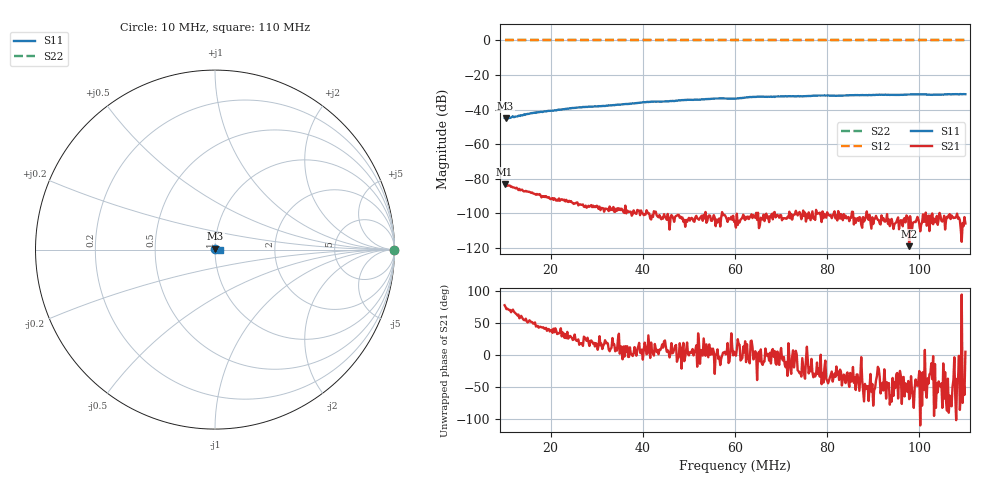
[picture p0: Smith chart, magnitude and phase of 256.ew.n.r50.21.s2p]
! Anritsu VNA Master:  Model: MS2036C/10/77
! SN:  1601066
! /card0/usr/256.ew.n.r50.21.s2p
! Existing Calibration Information:
! TYPE:  Current Settings,  Active Cal Settings
! TIME:  12/19/2017 03:08:02 PM,  12/19/2017 02:53:44 PM
! INTERNAL TEMP:  46.8 C,  46.3 C
! # POINTS:  501,  501
! START FREQ:  10.000 MHz,  10.000 MHz
! STOP FREQ:  110.000 MHz,  110.000 MHz
! SOURCE POWER:  High,  High
! IFBW:  100 Hz,  100 Hz
! AVG FACTOR:  1 ,  1
! REF PLANE 1:  0 mm,  0 mm
! REF PLANE 2:  0 mm,  0 mm
! CAL TYPE:  Full S11,  Full S11
! CAL METHOD:  SOLT,  SOLT
! CAL LINE TYPE:  Coax,  Coax
! DUT PORT 1:  N-Conn(F),  N-Conn(F)
! DUT PORT 2:  K-Conn(F),  K-Conn(F)
! CAL STATUS:  OK: Accuracy High,  --
# GHZ S DB R 50.0
! FREQ.GHZ  S11DB  S11A  S21DB  S21A  S12DB  S12A  S22DB  S22A
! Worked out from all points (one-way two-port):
!   501 points, 10 MHz to 110 MHz, reference 50 ohm
!   highest |S21| = -83.19 dB at 10 MHz (marker M1); lowest = -119.1 dB at 97.8 MHz (marker M2)
!   lowest |S11| = -45.2 dB at 10.2 MHz (marker M3), VSWR 1.01, Z = 50.2 + j0.497 ohm
!   |S11| at or under -10 dB: start of sweep to end of sweep
!   |S22| runs from 0.0 to 0.0 dB; largest |S21 - S12| = 1
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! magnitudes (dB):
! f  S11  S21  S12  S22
! 10 MHz  -44.9  -83.2  0.0  0.0
! 10.2 MHz  -45.2  -83.3  0.0  0.0
! 11.2 MHz  -44.8  -84.1  0.0  0.0
! 11.4 MHz  -44.6  -84.8  0.0  0.0
! 12.4 MHz  -44.0  -85.6  0.0  0.0
! 16.2 MHz  -41.9  -88.6  0.0  0.0
! 24.6 MHz  -39.1  -93.8  0.0  0.0
! 26.8 MHz  -38.7  -95.2  0.0  0.0
! 32 MHz  -37.8  -97.5  0.0  0.0
! 40.6 MHz  -35.8  -100.8  0.0  0.0
! 43.4 MHz  -35.4  -102.4  0.0  0.0
! 56 MHz  -33.6  -103.6  0.0  0.0
! 60 MHz  -33.7  -105.0  0.0  0.0
! 62.8 MHz  -32.9  -101.9  0.0  0.0
! 65 MHz  -32.6  -99.7  0.0  0.0
! 74.8 MHz  -32.3  -98.4  0.0  0.0
! 76.8 MHz  -32.0  -98.9  0.0  0.0
! 93.4 MHz  -31.5  -103.6  0.0  0.0
! 97.8 MHz  -31.3  -119.1  0.0  0.0
! 100.8 MHz  -31.2  -100.7  0.0  0.0
! 102.8 MHz  -31.5  -100.2  0.0  0.0
! 110 MHz  -31.1  -105.9  0.0  0.0
